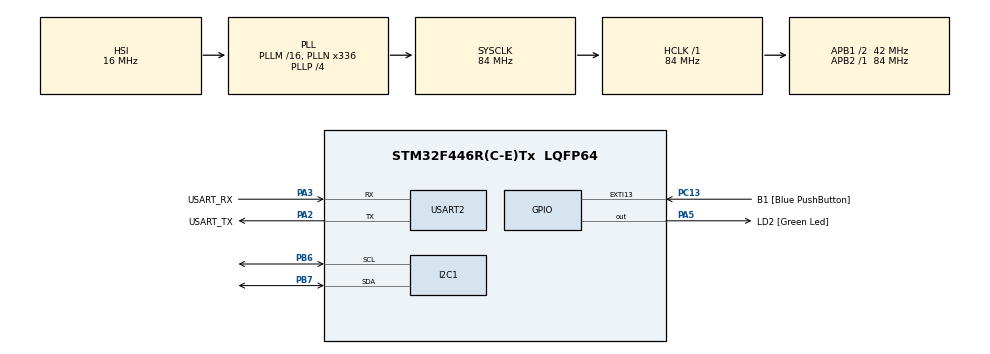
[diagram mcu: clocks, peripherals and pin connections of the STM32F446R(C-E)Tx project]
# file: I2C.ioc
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Mcu.Family=STM32F4
Mcu.Name=STM32F446R(C-E)Tx
Mcu.Package=LQFP64
NVIC.PriorityGroup=NVIC_PRIORITYGROUP_0
PA13.GPIO_Label=TMS
PA13.Mode=Serial_Wire
PA13.Signal=SYS_JTMS-SWDIO
PA14.GPIO_Label=TCK
PA14.Mode=Serial_Wire
PA14.Signal=SYS_JTCK-SWCLK
PA2.GPIO_Label=USART_TX
PA2.Mode=Asynchronous
PA2.Signal=USART2_TX
PA3.GPIO_Label=USART_RX
PA3.Mode=Asynchronous
PA3.Signal=USART2_RX
PA5.GPIO_Label=LD2 [Green Led]
PA5.Signal=GPIO_Output
PB3.GPIO_Label=SWO
PB3.Signal=SYS_JTDO-SWO
PB6.Mode=I2C
PB6.Signal=I2C1_SCL
PB7.Mode=I2C
PB7.Signal=I2C1_SDA
PC13.GPIO_Label=B1 [Blue PushButton]
PC13.GPIO_ModeDefaultEXTI=GPIO_MODE_IT_FALLING
PC13.Signal=GPXTI13
PC14-OSC32_IN.Mode=LSE-External-Oscillator
PC14-OSC32_IN.Signal=RCC_OSC32_IN
PC15-OSC32_OUT.Mode=LSE-External-Oscillator
PC15-OSC32_OUT.Signal=RCC_OSC32_OUT
PH0-OSC_IN.Mode=HSE-External-Oscillator
PH0-OSC_IN.Signal=RCC_OSC_IN
PH1-OSC_OUT.Mode=HSE-External-Oscillator
PH1-OSC_OUT.Signal=RCC_OSC_OUT
ProjectManager.HeapSize=0x200
ProjectManager.StackSize=0x400
ProjectManager.TargetToolchain=STM32CubeIDE
RCC.48MHZClocksFreq_Value=84000000
RCC.AHBFreq_Value=84000000
RCC.APB1CLKDivider=RCC_HCLK_DIV2
RCC.APB1Freq_Value=42000000
RCC.APB1TimFreq_Value=84000000
RCC.APB2Freq_Value=84000000
RCC.APB2TimFreq_Value=84000000
RCC.CortexFreq_Value=84000000
RCC.FLatency-AdvancedSettings=FLASH_LATENCY_2
RCC.HCLKFreq_Value=84000000
RCC.HSE_VALUE=8000000
RCC.HSI_VALUE=16000000
RCC.PLLN=336
RCC.PLLP=RCC_PLLP_DIV4
RCC.SYSCLKFreq_VALUE=84000000
RCC.SYSCLKSource=RCC_SYSCLKSOURCE_PLLCLK
RCC.USBFreq_Value=168000000
RCC.VCOOutputFreq_Value=336000000
USART2.VirtualMode=VM_ASYNC
board=NUCLEO-F446RE

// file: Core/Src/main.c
/* USER CODE BEGIN Header */
/**
  ******************************************************************************
  * @file           : main.c
  * @brief          : Main program body
  ******************************************************************************
  * @attention
  *
  * Copyright (c) 2025 STMicroelectronics.
  * All rights reserved.
  *
  * This software is licensed under terms that can be found in the LICENSE file
  * in the root directory of this software component.
  * If no LICENSE file comes with this software, it is provided AS-IS.
  *
  ******************************************************************************
  */
/* USER CODE END Header */
#include "main.h"

/* USER CODE BEGIN Includes */
#include <stdio.h>
#include <stdint.h>
#include <string.h>
/* USER CODE END Includes */

/* USER CODE BEGIN PD */
#define accel_range 16384.0f
#define gyro_range 131.0f
/* USER CODE END PD */

I2C_HandleTypeDef hi2c1;

UART_HandleTypeDef huart2;

void SystemClock_Config(void);
static void MX_GPIO_Init(void);
static void MX_USART2_UART_Init(void);
static void MX_I2C1_Init(void);

int main(void)
{

  /* MCU Configuration--------------------------------------------------------*/

  /* Reset of all peripherals, Initializes the Flash interface and the Systick. */
  HAL_Init();

  /* Configure the system clock */
  SystemClock_Config();

  /* Initialize all configured peripherals */
  MX_GPIO_Init();
  MX_USART2_UART_Init();
  MX_I2C1_Init();
  /* USER CODE BEGIN 2 */
  	uint8_t raw[14]; // buffer for all data
    uint8_t whoami = 0; // Buffer for whoami register to write back to
    uint8_t wake = 0x00;
    char msg_full[256];
    HAL_I2C_Mem_Write(&hi2c1, 0x68 << 1, 0x6B, I2C_MEMADD_SIZE_8BIT, &wake, 1, 1000);

    // Initialize and test I2C connection

    HAL_I2C_Mem_Read(&hi2c1,
  		  	  	   0x68 << 1,
  				   0x75,
  				   I2C_MEMADD_SIZE_8BIT,
  				   &whoami,
  				   1,
  				   1000);

    if (whoami != 0x68) {
        // Optional: blink LED or send error over UART
  	  char error[64];
  	  sprintf(error, "Error, no I2C device detected\r\n");
        HAL_UART_Transmit(&huart2, (uint8_t*)error, strlen(error), 1000);
        HAL_GPIO_TogglePin(LD2_GPIO_Port, LD2_Pin);
        while(1);
    }
  /* USER CODE END 2 */

  /* Infinite loop */
  /* USER CODE BEGIN WHILE */

  //while (1)
  {
for (int i = 0; i < 100; i ++){
	 // Gather all 14 bytes of data into one call
	  HAL_I2C_Mem_Read(&hi2c1,
			  	  	   0x68 << 1,
					   0x3B,
					   I2C_MEMADD_SIZE_8BIT,
					   raw,
					   14,
					   1000);

	  // Combine the high and low bytes of data into a single 2 byte / 16-bit data structure
	  /* The raw[x] << 8 | raw[y] allows the two 8 bit signals be configured into a single 16 bit value
	   	 although the fist value must be shifted to the left 8 bits to make room for the 2nd portion of 8 bits */
	  int16_t accel_x = (int16_t)(raw[0] << 8 | raw[1]);
	  int16_t accel_y = (int16_t)(raw[2] << 8 | raw[3]);
	  int16_t accel_z = (int16_t)(raw[4] << 8 | raw[5]);
	  int16_t temp_raw = (int16_t)(raw[6] << 8 | raw[7]);
	  int16_t gyro_x = (int16_t)(raw[8] << 8 | raw[9]);
	  int16_t gyro_y = (int16_t)(raw[10] << 8 | raw[11]);
	  int16_t gyro_z = (int16_t)(raw[12] << 8 | raw[13]);

	  // Convert raw units into physical units
	  double accel_x_ms2 = ((accel_x / accel_range) * 9.81)-0.6675;
	  double accel_y_ms2 = ((accel_y / accel_range) * 9.81)+0.098;
	  double accel_z_ms2 = ((accel_z / accel_range) * 9.81)+1.38;
	  double temp_C = (temp_raw / 340.0) + 36.53f;
	  double gyro_x_dps = (gyro_x / gyro_range)+2.7318;
	  double gyro_y_dps = (gyro_y / gyro_range)+2.3349;
	  double gyro_z_dps = (gyro_z / gyro_range)+0.2811;

	  // Serial Printing in CSV format
	  sprintf(msg_full, "%.2f, %.2f, %.2f, %.2f, %.2f, %.2f, %.2f\r\n", accel_x_ms2, accel_y_ms2, accel_z_ms2, temp_C, gyro_x_dps, gyro_y_dps, gyro_z_dps);

	  //Serial Transmission
	  HAL_UART_Transmit(&huart2, (uint8_t*)msg_full, strlen(msg_full), 1000);
	  HAL_Delay(200);
}

    /* USER CODE END WHILE */

  }
}

void SystemClock_Config(void)
{
  RCC_OscInitTypeDef RCC_OscInitStruct = {0};
  RCC_ClkInitTypeDef RCC_ClkInitStruct = {0};

  /** Configure the main internal regulator output voltage
  */
  __HAL_RCC_PWR_CLK_ENABLE();
  __HAL_PWR_VOLTAGESCALING_CONFIG(PWR_REGULATOR_VOLTAGE_SCALE3);

  /** Initializes the RCC Oscillators according to the specified parameters
  * in the RCC_OscInitTypeDef structure.
  */
  RCC_OscInitStruct.OscillatorType = RCC_OSCILLATORTYPE_HSI;
  RCC_OscInitStruct.HSIState = RCC_HSI_ON;
  RCC_OscInitStruct.HSICalibrationValue = RCC_HSICALIBRATION_DEFAULT;
  RCC_OscInitStruct.PLL.PLLState = RCC_PLL_ON;
  RCC_OscInitStruct.PLL.PLLSource = RCC_PLLSOURCE_HSI;
  RCC_OscInitStruct.PLL.PLLM = 16;
  RCC_OscInitStruct.PLL.PLLN = 336;
  RCC_OscInitStruct.PLL.PLLP = RCC_PLLP_DIV4;
  RCC_OscInitStruct.PLL.PLLQ = 2;
  RCC_OscInitStruct.PLL.PLLR = 2;
  if (HAL_RCC_OscConfig(&RCC_OscInitStruct) != HAL_OK)
  {
    Error_Handler();
  }

  /** Initializes the CPU, AHB and APB buses clocks
  */
  RCC_ClkInitStruct.ClockType = RCC_CLOCKTYPE_HCLK|RCC_CLOCKTYPE_SYSCLK
                              |RCC_CLOCKTYPE_PCLK1|RCC_CLOCKTYPE_PCLK2;
  RCC_ClkInitStruct.SYSCLKSource = RCC_SYSCLKSOURCE_PLLCLK;
  RCC_ClkInitStruct.AHBCLKDivider = RCC_SYSCLK_DIV1;
  RCC_ClkInitStruct.APB1CLKDivider = RCC_HCLK_DIV2;
  RCC_ClkInitStruct.APB2CLKDivider = RCC_HCLK_DIV1;

  if (HAL_RCC_ClockConfig(&RCC_ClkInitStruct, FLASH_LATENCY_2) != HAL_OK)
  {
    Error_Handler();
  }
}

static void MX_I2C1_Init(void)
{

  hi2c1.Instance = I2C1;
  hi2c1.Init.ClockSpeed = 100000;
  hi2c1.Init.DutyCycle = I2C_DUTYCYCLE_2;
  hi2c1.Init.OwnAddress1 = 0;
  hi2c1.Init.AddressingMode = I2C_ADDRESSINGMODE_7BIT;
  hi2c1.Init.DualAddressMode = I2C_DUALADDRESS_DISABLE;
  hi2c1.Init.OwnAddress2 = 0;
  hi2c1.Init.GeneralCallMode = I2C_GENERALCALL_DISABLE;
  hi2c1.Init.NoStretchMode = I2C_NOSTRETCH_DISABLE;
  if (HAL_I2C_Init(&hi2c1) != HAL_OK)
  {
    Error_Handler();
  }

}

static void MX_USART2_UART_Init(void)
{

  huart2.Instance = USART2;
  huart2.Init.BaudRate = 115200;
  huart2.Init.WordLength = UART_WORDLENGTH_8B;
  huart2.Init.StopBits = UART_STOPBITS_1;
  huart2.Init.Parity = UART_PARITY_NONE;
  huart2.Init.Mode = UART_MODE_TX_RX;
  huart2.Init.HwFlowCtl = UART_HWCONTROL_NONE;
  huart2.Init.OverSampling = UART_OVERSAMPLING_16;
  if (HAL_UART_Init(&huart2) != HAL_OK)
  {
    Error_Handler();
  }

}

static void MX_GPIO_Init(void)
{
  GPIO_InitTypeDef GPIO_InitStruct = {0};

  /* GPIO Ports Clock Enable */
  __HAL_RCC_GPIOC_CLK_ENABLE();
  __HAL_RCC_GPIOH_CLK_ENABLE();
  __HAL_RCC_GPIOA_CLK_ENABLE();
  __HAL_RCC_GPIOB_CLK_ENABLE();

  /*Configure GPIO pin Output Level */
  HAL_GPIO_WritePin(LD2_GPIO_Port, LD2_Pin, GPIO_PIN_RESET);

  /*Configure GPIO pin : B1_Pin */
  GPIO_InitStruct.Pin = B1_Pin;
  GPIO_InitStruct.Mode = GPIO_MODE_IT_FALLING;
  GPIO_InitStruct.Pull = GPIO_NOPULL;
  HAL_GPIO_Init(B1_GPIO_Port, &GPIO_InitStruct);

  /*Configure GPIO pin : LD2_Pin */
  GPIO_InitStruct.Pin = LD2_Pin;
  GPIO_InitStruct.Mode = GPIO_MODE_OUTPUT_PP;
  GPIO_InitStruct.Pull = GPIO_NOPULL;
  GPIO_InitStruct.Speed = GPIO_SPEED_FREQ_LOW;
  HAL_GPIO_Init(LD2_GPIO_Port, &GPIO_InitStruct);

}

void Error_Handler(void)
{
  __disable_irq();
  while (1)
  {
  }
}
